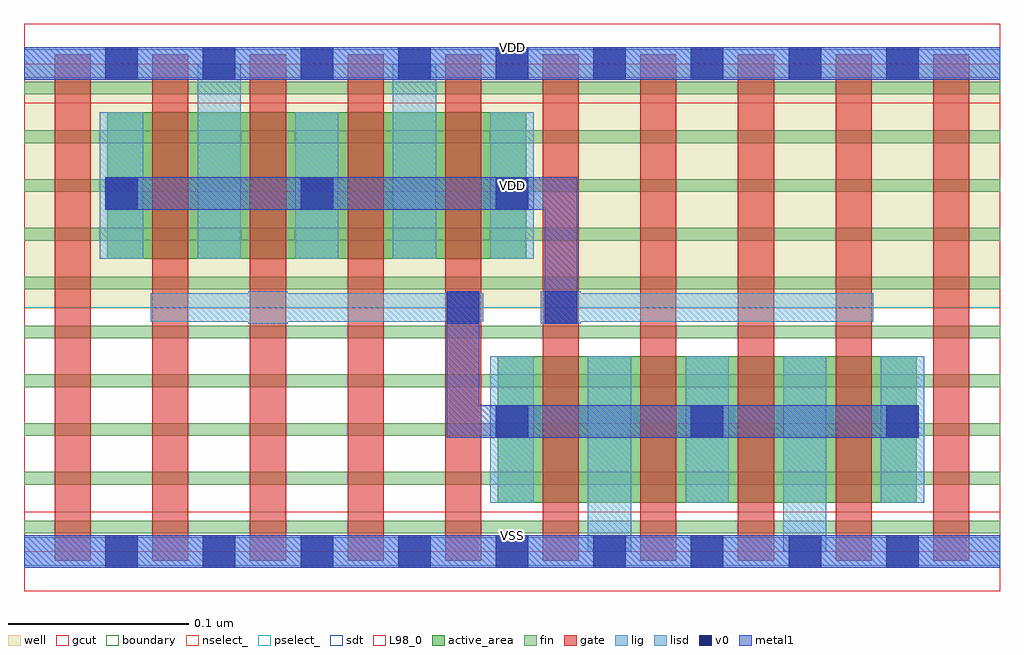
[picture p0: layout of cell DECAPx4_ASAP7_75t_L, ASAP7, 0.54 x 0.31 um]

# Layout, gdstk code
import gdstk
lib = gdstk.Library(unit=1e-6, precision=2.5e-10)
def R(c, l, rs):  # rectangles x0, y0, x1, y1
    for r in rs: c.add(gdstk.rectangle(r[:2], r[2:], *l))
def A(c, l, x, y, w, h, nx, ny, dx, dy):  # array of equal rectangles
    R(c, l, [(x+i*dx, y+j*dy, x+i*dx+w, y+j*dy+h) for i in range(nx) for j in range(ny)])
def P(c, l, *ps):  # polygons
    for p in ps: c.add(gdstk.Polygon(p, *l))
well = (1, 0)
fin = (2, 0)
gate = (7, 0)
gcut = (10, 0)
active_area = (11, 0)
nselect_ = (12, 0)
pselect_ = (13, 0)
lig = (16, 0)
lisd = (17, 0)
v0 = (18, 0)
metal1 = (19, 0)
sdt = (88, 0)
L98_0 = (98, 0)
boundary = (100, 0)

decapx4_asap7_75t_l = lib.new_cell('DECAPx4_ASAP7_75t_L')
R(decapx4_asap7_75t_l, well, [(0,0.135,0.54,0.27)])
A(decapx4_asap7_75t_l, fin, 0, 0.01, 0.54, 0.007, 1, 10, 0, 0.027)
A(decapx4_asap7_75t_l, gate, 0.017, -0.005, 0.02, 0.28, 10, 1, 0.054, 0)
R(decapx4_asap7_75t_l, gcut, [(0,-0.022,0.54,0.022), (0,0.248,0.54,0.292)])
R(decapx4_asap7_75t_l, active_area, [(0.262,0.027,0.494,0.108), (0.046,0.162,0.278,0.243)])
R(decapx4_asap7_75t_l, nselect_, [(0,0,0.54,0.135)])
R(decapx4_asap7_75t_l, pselect_, [(0,0.135,0.54,0.27)])
R(decapx4_asap7_75t_l, lig, [(0,-0.008,0.54,0.008), (0.124,0.126,0.146,0.144), (0.286,0.126,0.308,0.144), (0.07,0.127,0.254,0.143), (0.286,0.127,0.47,0.143), (0,0.262,0.54,0.278)])
A(decapx4_asap7_75t_l, lisd, 0.258, 0.027, 0.024, 0.081, 3, 1, 0.108, 0)
A(decapx4_asap7_75t_l, lisd, 0.042, 0.162, 0.024, 0.081, 3, 1, 0.108, 0)
R(decapx4_asap7_75t_l, lisd, [(0.312,0,0.336,0.108), (0.312,0,0.336,0.108), (0.42,0,0.444,0.108), (0.42,0,0.444,0.108), (0.096,0.162,0.12,0.27), (0.096,0.162,0.12,0.27), (0.204,0.162,0.228,0.27), (0.204,0.162,0.228,0.27)])
A(decapx4_asap7_75t_l, v0, 0.045, -0.009, 0.018, 0.018, 9, 2, 0.054, 0.27)
A(decapx4_asap7_75t_l, v0, 0.261, 0.063, 0.018, 0.018, 3, 1, 0.108, 0)
A(decapx4_asap7_75t_l, v0, 0.045, 0.189, 0.018, 0.018, 3, 1, 0.108, 0)
R(decapx4_asap7_75t_l, v0, [(0.234,0.126,0.252,0.144), (0.288,0.126,0.306,0.144)])
A(decapx4_asap7_75t_l, metal1, 0.261, 0.063, 0.018, 0.018, 3, 1, 0.108, 0)
A(decapx4_asap7_75t_l, metal1, 0.045, 0.189, 0.018, 0.018, 3, 1, 0.108, 0)
R(decapx4_asap7_75t_l, metal1, [(0,-0.009,0.54,0.009), (0.234,0.126,0.252,0.144), (0.288,0.126,0.306,0.144), (0,0.261,0.54,0.279)])
P(decapx4_asap7_75t_l, metal1, [(0.045,0.207),(0.045,0.189),(0.288,0.189),(0.288,0.126),(0.306,0.126),(0.306,0.207)],
  [(0.252,0.144),(0.234,0.144),(0.234,0.063),(0.495,0.063),(0.495,0.081),(0.252,0.081)])
A(decapx4_asap7_75t_l, sdt, 0.312, 0.027, 0.024, 0.081, 3, 1, 0.054, 0)
A(decapx4_asap7_75t_l, sdt, 0.096, 0.162, 0.024, 0.081, 3, 1, 0.054, 0)
R(decapx4_asap7_75t_l, sdt, [(0.258,0.027,0.282,0.108), (0.312,0.027,0.336,0.108), (0.42,0.027,0.444,0.108), (0.474,0.027,0.498,0.108), (0.042,0.162,0.066,0.243), (0.096,0.162,0.12,0.243), (0.204,0.162,0.228,0.243), (0.258,0.162,0.282,0.243)])
R(decapx4_asap7_75t_l, L98_0, [(0,0,0.54,0.27)])
R(decapx4_asap7_75t_l, boundary, [(0,0,0.54,0.27)])
decapx4_asap7_75t_l.add(gdstk.Label('VDD', (0.27,0.2025), layer=1, texttype=251))
decapx4_asap7_75t_l.add(gdstk.Label('VSS', (0.27,-0.0675), layer=3, texttype=251))
decapx4_asap7_75t_l.add(gdstk.Label('VSS', (0.27,0.009), layer=19, texttype=251))
decapx4_asap7_75t_l.add(gdstk.Label('VDD', (0.27,0.279), layer=19, texttype=251))

lib.write_gds('DECAPx4_ASAP7_75t_L.gds')
